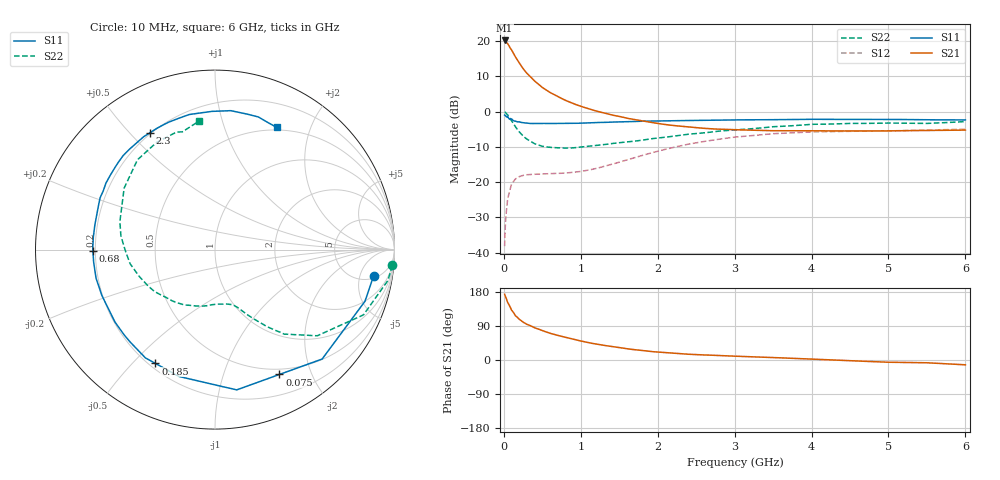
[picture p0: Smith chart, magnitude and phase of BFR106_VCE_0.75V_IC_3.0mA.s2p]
! Infineon Technologies  Discrete & RF Semiconductors
! BFR106
! VCE = 0.75 V,  IC =  3.0 mA
! Common Emitter S-Parameters:  Nov 2015
# GHz  S  MA  R  50
!  f  S11  S21  S12  S22
! GHz  MAG  ANG  MAG  ANG  MAG  ANG  MAG  ANG
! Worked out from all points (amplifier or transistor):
!   210 points, 10 MHz to 6 GHz, reference 50 ohm
!   highest |S21| = 20.2 dB at 10 MHz (marker M1)
!   |S21| within 3 dB of that: start of sweep to 108.2 MHz
!   unconditionally stable (mu >= 1): 680.9 MHz to end of sweep
!   at 185 MHz: K = 0.31, MSG = 16.5 dB, |S12| = -18.7 dB
!   at 1.52 GHz: K = 1.24, MAG = 3.4 dB, |S12| = -14.2 dB
!   at 6 GHz: K = 1.03, MAG = -1.2 dB, |S12| = -5.0 dB
!   S11 on the Smith chart (normalised r, x): 10 MHz: 6, -8; 75 MHz: 0.43, -1.55; 185 MHz: 0.22, -0.58; 680 MHz: 0.19, -0.00; 2.3 GHz: 0.19, +0.57; 6 GHz: 0.47, +1.52
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0.01  0.8955 -9.5  10.26 173.5  0.0123 86.5  0.9919 -5.1
0.02  0.8839 -19.0  10.15 168.4  0.0247 81.6  0.9788 -10.1
0.05  0.8532 -45.6  9.27 151.7  0.0575 65.6  0.9039 -23.7
0.075  0.7828 -62.7  8.281 142.8  0.0745 55.3  0.8162 -31.1
0.1  0.7909 -81.2  7.542 131.8  0.0931 48.9  0.7453 -40.1
0.15  0.7348 -105.8  5.991 117.0  0.1107 37.8  0.6096 -50.6
0.185  0.7158 -117.6  5.219 110.8  0.1167 33.4  0.5446 -54.2
0.2  0.7172 -122.7  4.911 107.6  0.1194 31.7  0.5175 -56.0
0.24  0.6991 -132.4  4.241 101.5  0.1234 28.6  0.4626 -59.3
0.3  0.6881 -144.1  3.498 94.1  0.1272 25.9  0.407 -63.4
0.4  0.6801 -157.9  2.721 85.0  0.1294 23.6  0.3505 -68.2
0.5  0.6817 -166.5  2.205 77.4  0.1305 23.3  0.3223 -72.2
0.68  0.68 -179.5  1.682 66.1  0.1321 26.1  0.3076 -80.9
0.8  0.6815 174.1  1.448 59.6  0.1344 29.2  0.3038 -87.0
1.02  0.6873 163.4  1.172 49.4  0.1428 36.0  0.3161 -98.3
1.4  0.7116 148.7  0.897 35.6  0.1778 46.2  0.3525 -119.0
2.02  0.7365 127.6  0.675 20.6  0.2775 48.5  0.4248 -151.7
2.3  0.7454 119.2  0.621 16.6  0.3276 45.2  0.462 -165.7
3.1  0.7653 98.9  0.55 9.4  0.4441 30.5  0.5595 159.9
4.1  0.7778 82.3  0.534 1.7  0.5173 12.4  0.6625 128.3
5.1  0.7748 71.0  0.535 -6.2  0.5361 -0.8  0.6872 107.6
6  0.7628 63.3  0.547 -12.7  0.5635 -9.8  0.7224 96.9
